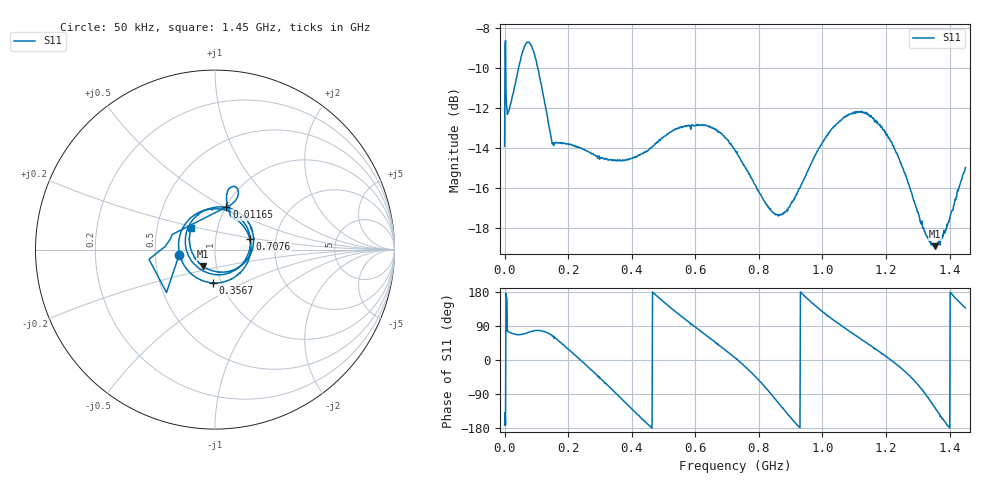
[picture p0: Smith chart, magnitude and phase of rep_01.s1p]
! Created with skrf 1.11.0 (http://scikit-rf.org).
# Hz S RI R 50.0
!freq ReS11 ImS11
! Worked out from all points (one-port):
!   1001 points, 50 kHz to 1.45 GHz, reference 50 ohm
!   lowest |S11| = -18.9 dB at 1.354 GHz (marker M1), VSWR 1.26, Z = 43.2 - j8.1 ohm
!   |S11| at or under -10 dB: start of sweep to 1.17 MHz; 3.75 MHz to 43.53 MHz (39.78 MHz wide, 168 % of centre); 104.7 MHz to end of sweep
!   S11 on the Smith chart (normalised r, x): 50 kHz: 0.67, -0.04; 11.65 MHz: 1.01, +0.51; 356.7 MHz: 0.91, -0.35; 707.6 MHz: 1.47, +0.19; 1.45 GHz: 0.75, +0.19
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50000  -0.1996 -0.0288
8749700  0.0586 0.2354
1.16496e7  0.0638 0.2376
1.599945e7  0.0737 0.2409
2.9049e7  0.1 0.2598
7.83473e7  0.1022 0.3525
1.479449e8  0.0847 0.1913
1.812938e8  0.1534 0.1356
2.61041e8  0.1877 -0.0565
3.117892e8  0.1031 -0.1569
3.567377e8  -0.0106 -0.1856
3.625375e8  -0.0258 -0.1846
4.582342e8  -0.1986 -0.0168
5.437812e8  -0.1237 0.1857
6.220786e8  0.0671 0.2187
7.076256e8  0.1956 0.0618
7.25025e8  0.1963 0.0195
8.192718e8  0.0467 -0.1388
8.642202e8  -0.0599 -0.122
9.062688e8  -0.1357 -0.055
9.86016e8  -0.1452 0.1332
1.038214e9  -0.0529 0.2207
1.087512e9  0.0659 0.234
1.180309e9  0.2134 0.0825
1.268756e9  0.1308 -0.0988
1.354303e9  -0.0653 -0.0926
1.402152e9  -0.1352 0.00285
1.45e9  -0.1316 0.1205
